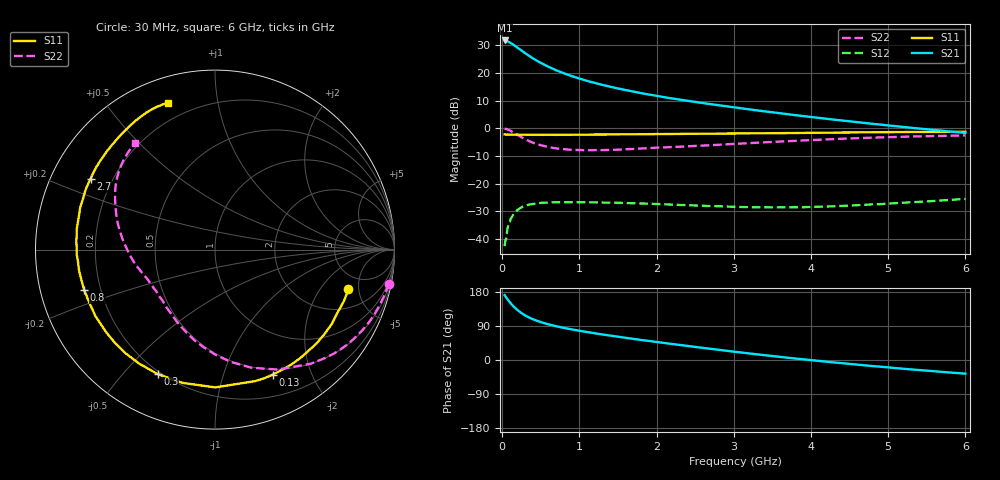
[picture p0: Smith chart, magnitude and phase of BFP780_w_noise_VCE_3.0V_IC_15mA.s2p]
! Infineon Technologies  Discrete & RF Semiconductors
! BFP780
! VCE =  3.0 V,  IC =  15 mA
! Common Emitter S-Parameters:  Jul 2015
# GHz  S  MA  R  50
!  f  S11  S21  S12  S22
! GHz  MAG  ANG  MAG  ANG  MAG  ANG  MAG  ANG
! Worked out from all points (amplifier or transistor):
!   75 points, 30 MHz to 6 GHz, reference 50 ohm
!   highest |S21| = 31.6 dB at 30 MHz (marker M1)
!   |S21| within 3 dB of that: start of sweep to 217.3 MHz
!   unconditionally stable (mu >= 1): 2.493 GHz to end of sweep
!   at 150 MHz: K = 0.05, MSG = 30.5 dB, |S12| = -31.0 dB
!   at 2.3 GHz: K = 0.93, MSG = 19.0 dB, |S12| = -27.6 dB
!   at 6 GHz: K = 1.45, MAG = 7.9 dB, |S12| = -25.5 dB
!   lowest NFmin = 0.87 dB at 450 MHz
!   S11 on the Smith chart (normalised r, x): 30 MHz: 3.49, -3.86; 130 MHz: 0.44, -1.47; 300 MHz: 0.19, -0.62; 800 MHz: 0.14, -0.15; 2.7 GHz: 0.12, +0.26; 6 GHz: 0.11, +0.72
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0.03  0.7757 -16.5  38.19 171.1  0.0075 80.8  0.9869 -11.1
0.05  0.7676 -27.1  37.68 165.0  0.0102 80.7  0.9692 -18.3
0.08  0.7703 -42.5  36.2 156.9  0.0181 67.0  0.9358 -28.7
0.1  0.7688 -51.8  34.94 151.9  0.0209 63.4  0.9095 -35.2
0.13  0.7671 -65.2  32.99 144.8  0.0258 57.5  0.8609 -44.5
0.15  0.766 -73.1  31.63 140.5  0.0282 53.5  0.8301 -50.0
0.2  0.7678 -89.9  28.12 131.3  0.0341 44.5  0.7535 -62.5
0.25  0.7644 -103.8  25.11 123.5  0.0378 37.5  0.6879 -73.0
0.3  0.7636 -114.7  22.34 117.2  0.0402 32.4  0.6303 -82.3
0.35  0.7629 -123.7  20.03 111.8  0.0422 28.4  0.5841 -90.0
0.4  0.763 -131.1  18.08 107.3  0.0432 24.7  0.5469 -96.8
0.5  0.7611 -142.5  15.04 100.0  0.0452 19.1  0.4938 -107.9
0.6  0.7623 -150.9  12.78 94.0  0.0459 15.4  0.4581 -116.9
0.8  0.763 -162.9  9.767 84.7  0.0466 9.7  0.4193 -130.5
1.1  0.7661 -174.8  7.127 73.7  0.0463 4.6  0.401 -144.6
1.5  0.7745 174.1  5.207 61.5  0.0454 0.1  0.4112 -156.7
2.1  0.7872 161.2  3.629 44.9  0.0426 -3.4  0.4514 -169.8
2.7  0.7976 150.4  2.718 29.5  0.0396 -3.6  0.4951 178.6
3.1  0.8069 143.7  2.284 19.7  0.038 -1.8  0.5304 170.8
4.1  0.8287 128.6  1.538 -2.4  0.0386 6.5  0.6201 153.8
5.1  0.8539 116.6  1.089 -21.4  0.0447 11.3  0.6963 139.3
6  0.8606 107.9  0.826 -36.1  0.0531 10.8  0.7436 126.9
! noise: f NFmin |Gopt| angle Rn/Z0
0.45  0.87  0.15  114  0.08
0.9  0.93  0.21  148  0.07
1.5  1.06  0.3  165  0.06
1.8  1.28  0.4  -180  0.06
2.4  1.48  0.46  -167  0.08
3  1.85  0.5  -151  0.12
3.5  2.47  0.57  -133  0.22
